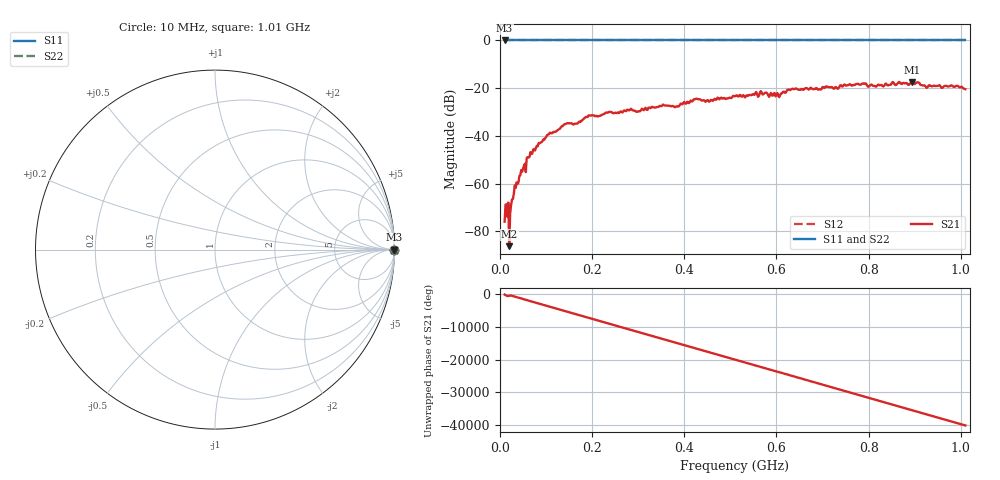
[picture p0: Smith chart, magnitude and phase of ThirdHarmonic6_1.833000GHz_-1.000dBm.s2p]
! 8/16/2025 10:12:04 PM
! C:\ANRITSUVNA\TEMP\TEMP.S2P
! CHANNEL.1
! TR.MEASUREMENT
! RAW.DATA
! RF.CORRECTION.OFF
! AVERAGING.OFF
! IF.BANDWIDTH: 5KHZ
! SWEEPTYPE:  FREQ.SWEEP(Linear)
! Reference Plane Port Info
! PORT:  PORT1  PORT2
! DISTANCE:  0  m  0  m
! TIME:  0  s  0  s
! PHASE.OFFSET:  0  deg.  0  deg.
! LOSS:  0  dB  0  dB
! REF.LOSS:  0  dB  0  dB
! REF.FREQ:  0  Hz  0  Hz
! Power Info
! POWER:  -20  dBm  -20  dBm
! EFF.POWER:  -20  dBm  -20  dBm
! SOURCE.ATTEN:  0  dB  0  dB
! TEST.ATTEN:  0  dB  0  dB
# GHZ S RI R 50.0
! FREQ.GHZ  S11RE  S11IM  S21RE  S21IM  S12RE  S12IM  S22RE  S22IM
!; PortSelection: Port_12
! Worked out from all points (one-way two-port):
!   501 points, 10 MHz to 1.01 GHz, reference 50 ohm
!   highest |S21| = -17.36 dB at 894 MHz (marker M1); lowest = -86.2 dB at 20 MHz (marker M2)
!   lowest |S11| = 0.0 dB at 10 MHz (marker M3)
!   |S11| at or under -10 dB: nowhere
!   |S22| runs from 0.0 to 0.0 dB; largest |S21 - S12| = 1.1
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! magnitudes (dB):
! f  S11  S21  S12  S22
! 10 MHz  0.0  -76.0  0.0  0.0
! 14 MHz  0.0  -68.7  0.0  0.0
! 20 MHz  0.0  -86.2  0.0  0.0
! 24 MHz  0.0  -69.0  0.0  0.0
! 28 MHz  0.0  -66.5  0.0  0.0
! 34 MHz  0.0  -61.8  0.0  0.0
! 62 MHz  0.0  -49.1  0.0  0.0
! 106 MHz  0.0  -39.3  0.0  0.0
! 142 MHz  0.0  -35.1  0.0  0.0
! 178 MHz  0.0  -33.6  0.0  0.0
! 196 MHz  0.0  -31.4  0.0  0.0
! 344 MHz  0.0  -27.9  0.0  0.0
! 384 MHz  0.0  -27.6  0.0  0.0
! 424 MHz  0.0  -24.6  0.0  0.0
! 510 MHz  0.0  -23.4  0.0  0.0
! 568 MHz  0.0  -22.0  0.0  0.0
! 602 MHz  0.0  -22.0  0.0  0.0
! 630 MHz  0.0  -20.8  0.0  0.0
! 678 MHz  0.0  -20.4  0.0  0.0
! 844 MHz  0.0  -18.7  0.0  0.0
! 894 MHz  0.0  -17.4  0.0  0.0
! 1.01 GHz  0.0  -20.4  0.0  0.0
